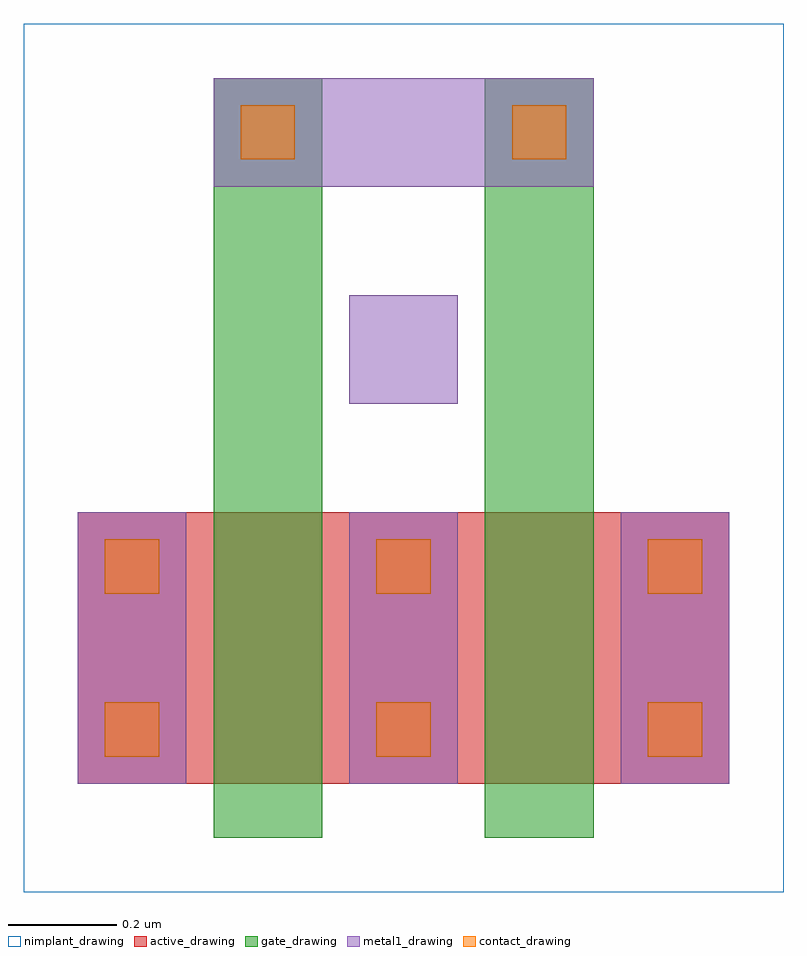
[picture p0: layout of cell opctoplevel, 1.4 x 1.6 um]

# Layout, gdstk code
import gdstk
lib = gdstk.Library(unit=1e-6, precision=1e-09)
def R(c, l, rs):  # rectangles x0, y0, x1, y1
    for r in rs: c.add(gdstk.rectangle(r[:2], r[2:], *l))
def A(c, l, x, y, w, h, nx, ny, dx, dy):  # array of equal rectangles
    R(c, l, [(x+i*dx, y+j*dy, x+i*dx+w, y+j*dy+h) for i in range(nx) for j in range(ny)])
active_drawing = (1, 0)
nimplant_drawing = (5, 0)
gate_drawing = (6, 0)
contact_drawing = (7, 0)
metal1_drawing = (8, 0)

opctoplevel = lib.new_cell('opctoplevel')
R(opctoplevel, active_drawing, [(-0.25,0,0.95,0.5)])
R(opctoplevel, nimplant_drawing, [(-0.35,-0.2,1.05,1.4)])
R(opctoplevel, gate_drawing, [(0,-0.1,0.2,1.3), (0.5,-0.1,0.7,1.3)])
A(opctoplevel, contact_drawing, -0.2, 0.05, 0.1, 0.1, 3, 2, 0.5, 0.3)
R(opctoplevel, contact_drawing, [(0.05,1.15,0.15,1.25), (0.55,1.15,0.65,1.25)])
A(opctoplevel, metal1_drawing, -0.25, 0, 0.2, 0.5, 3, 1, 0.5, 0)
R(opctoplevel, metal1_drawing, [(0.25,0.7,0.45,0.9), (0,1.1,0.7,1.3)])

lib.write_gds('opctoplevel.gds')
